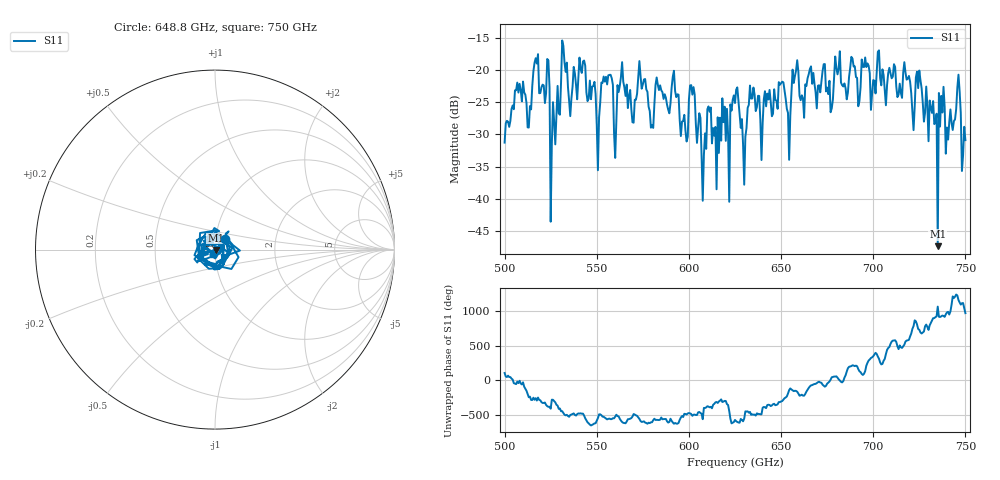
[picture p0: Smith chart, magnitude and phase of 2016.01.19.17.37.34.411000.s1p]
!Created with skrf (http://scikit-rf.org).
# GHz S RI R 50.0
!freq ReS11 ImS11
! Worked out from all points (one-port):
!   401 points, 500 GHz to 750 GHz, reference 50 ohm
!   lowest |S11| = -47.4 dB at 735 GHz (marker M1), VSWR 1.01, Z = 50.4 - j0.137 ohm
!   |S11| at or under -10 dB: start of sweep to end of sweep
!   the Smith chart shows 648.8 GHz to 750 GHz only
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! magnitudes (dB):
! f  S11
! 500 GHz  -31.3
! 506.9 GHz  -22.0
! 513.1 GHz  -29.0
! 516.9 GHz  -18.2
! 523.1 GHz  -18.3
! 526.2 GHz  -25.0
! 531.2 GHz  -15.5
! 542.5 GHz  -18.7
! 550.6 GHz  -35.6
! 553.8 GHz  -21.0
! 562.5 GHz  -22.5
! 593.8 GHz  -23.8
! 598.1 GHz  -29.5
! 601.9 GHz  -23.9
! 608.1 GHz  -33.2
! 610.6 GHz  -25.7
! 621.2 GHz  -30.1
! 625 GHz  -25.2
! 630 GHz  -37.8
! 634.4 GHz  -24.4
! 650 GHz  -22.1
! 653.8 GHz  -26.7
! 656.2 GHz  -20.0
! 687.5 GHz  -19.7
! 718.8 GHz  -21.4
! 735 GHz  -47.4
! 746.2 GHz  -20.8
! 750 GHz  -30.9
